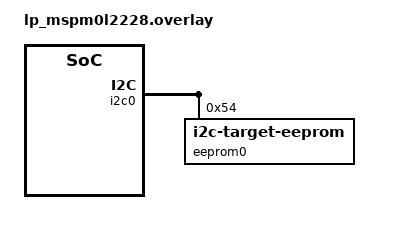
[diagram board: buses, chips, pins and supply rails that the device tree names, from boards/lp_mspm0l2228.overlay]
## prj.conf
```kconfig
CONFIG_I2C=y
CONFIG_I2C_TARGET=y
CONFIG_I2C_EEPROM_TARGET=y
CONFIG_SHELL=y
CONFIG_I2C_SHELL=y

CONFIG_PM=y
CONFIG_PM_DEVICE=y
CONFIG_PM_DEVICE_RUNTIME=y
```

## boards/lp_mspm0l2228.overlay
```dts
&i2c0 {
	eeprom0: eeprom@54 {
		reg = <0x54>;
		size = <256>;
		compatible = "zephyr,i2c-target-eeprom";
		status = "okay";
	};
};

target_eeprom: &eeprom0{};
```

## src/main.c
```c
/*
 * Copyright (c) 2024 Open Pixel Systems
 *
 * SPDX-License-Identifier: Apache-2.0
 */

#include <zephyr/kernel.h>
#include <zephyr/sys/printk.h>
#include <zephyr/drivers/i2c.h>
#include <zephyr/drivers/i2c/target/eeprom.h>

static const struct device *eeprom = DEVICE_DT_GET(DT_NODELABEL(eeprom0));

int main(void)
{
	printk("i2c target sample\n");

	if (!device_is_ready(eeprom)) {
		printk("eeprom device not ready\n");
		return 0;
	}

	if (i2c_target_driver_register(eeprom) < 0) {
		printk("Failed to register i2c target driver\n");
		return 0;
	}

	printk("i2c target driver registered\n");

	while (1)
		k_msleep(1000);

	if (i2c_target_driver_unregister(eeprom) < 0) {
		printk("Failed to unregister i2c target driver\n");
		return 0;
	}

	printk("i2c target driver unregistered\n");

	return 0;
}
```
